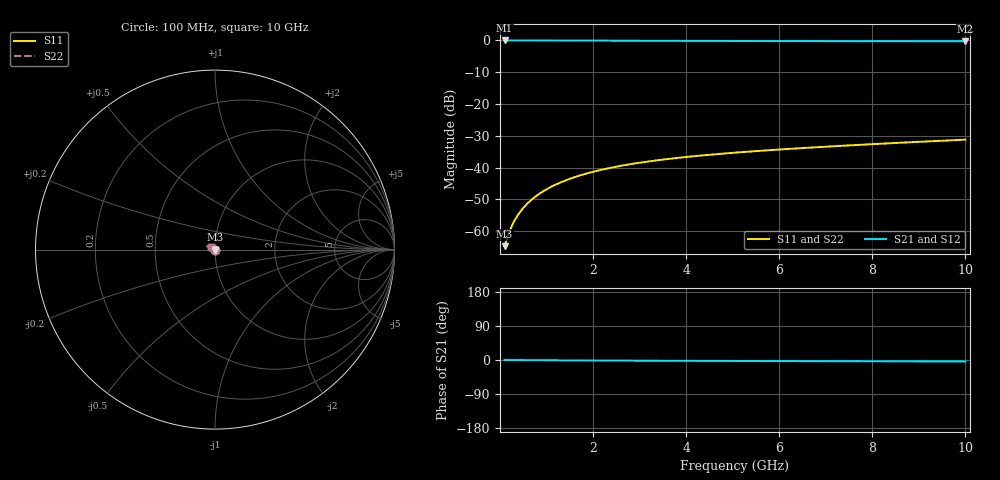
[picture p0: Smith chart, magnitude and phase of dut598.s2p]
! Touchstone file exported from HFSS 2024.1.0
!  File:  C:/UserFiles/LocalFiles/RDL_TSV_Batchsim/temp_TSV1_598_1779711084.aedt
!  Generated:  08:18:24 PM May 25, 2026
!  Design:  TSV1
!  Project:  temp_TSV1_598_1779711084
!  Setup:  Setup1
!  Solution:  Sweep
! Variables:
!  dtsv = 5.53um
!  hbump = 3um
!  htsv = 54.87um
!  lrdl = 252.1521522um
!  p = 40
!  p1 = 44.81um
!  t = 500um
!  trdl = 3um
!  wrdl = 24.89489489um
# GHz S MA R 50.000000
! Terminal data exported
! Port[1] = TSV22_T1
! Port[2] = TSV22_T2
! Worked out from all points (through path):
!   100 points, 100 MHz to 10 GHz, reference 50 ohm
!   highest |S21| = 0.00 dB at 100 MHz (marker M1); lowest = -0.2 dB at 10 GHz (marker M2)
!   lowest |S11| = -64.7 dB at 100 MHz (marker M3), VSWR 1.00, Z = 50 - j0.0468 ohm
!   |S11| at or under -10 dB: start of sweep to end of sweep
!   |S22| runs from -64.7 to -31.2 dB; largest |S21 - S12| = 5e-15
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0.1  0.0005815 -53.5  0.9996 -0.1  0.9996 -0.1  0.0005815 -53.5
! Gamma 0 0 0 0
! Port Impedance 50 0 50 0
0.2  0.0009787 -73.0  0.9996 -0.2  0.9996 -0.2  0.0009787 -73.0
0.3  0.001416 -82.2  0.9995 -0.2  0.9995 -0.2  0.001416 -82.2
0.4  0.001866 -88.0  0.9993 -0.3  0.9993 -0.3  0.001866 -88.0
0.5  0.00232 -92.3  0.9991 -0.4  0.9991 -0.4  0.00232 -92.3
0.6  0.002774 -95.9  0.9989 -0.4  0.9989 -0.4  0.002774 -95.9
0.7  0.003225 -99.0  0.9987 -0.5  0.9987 -0.5  0.003225 -99.0
0.8  0.003673 -101.8  0.9984 -0.6  0.9984 -0.6  0.003673 -101.8
0.9  0.004117 -104.5  0.9982 -0.7  0.9982 -0.7  0.004117 -104.5
1.1  0.004989 -109.4  0.9975 -0.8  0.9975 -0.8  0.004989 -109.4
1.4  0.006252 -116.1  0.9964 -1.0  0.9964 -1.0  0.006252 -116.1
1.6  0.00706 -120.3  0.9956 -1.1  0.9956 -1.1  0.00706 -120.3
1.8  0.00784 -124.4  0.9947 -1.2  0.9947 -1.2  0.00784 -124.4
2.1  0.008955 -130.1  0.9933 -1.4  0.9933 -1.4  0.008955 -130.1
2.5  0.01034 -137.4  0.9915 -1.6  0.9915 -1.6  0.01034 -137.4
2.9  0.01162 -144.1  0.9896 -1.8  0.9896 -1.8  0.01162 -144.1
3.4  0.01308 -151.8  0.9874 -2.0  0.9874 -2.0  0.01308 -151.8
4.2  0.01518 -162.7  0.9842 -2.2  0.9842 -2.2  0.01518 -162.7
5.1  0.01729 -173.3  0.9813 -2.5  0.9813 -2.5  0.01729 -173.3
6.7  0.0207 171.6  0.9774 -3.0  0.9774 -3.0  0.0207 171.6
8.4  0.02419 159.2  0.9747 -3.4  0.9747 -3.4  0.02419 159.2
10  0.02751 150.1  0.9728 -3.9  0.9728 -3.9  0.02751 150.1
